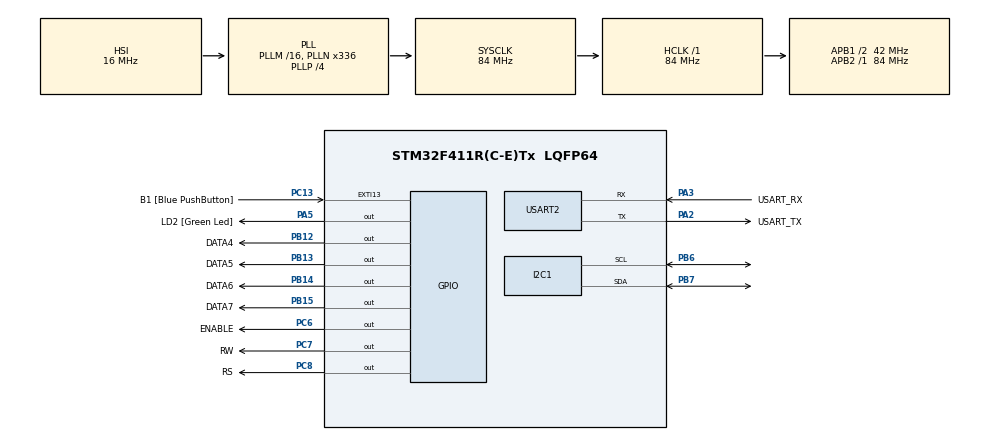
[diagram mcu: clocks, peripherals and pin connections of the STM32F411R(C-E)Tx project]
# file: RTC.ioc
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Mcu.Family=STM32F4
Mcu.Name=STM32F411R(C-E)Tx
Mcu.Package=LQFP64
NVIC.EXTI15_10_IRQn=true\:0\:0\:false\:false\:true\:true\:true\:true
NVIC.I2C1_ER_IRQn=true\:0\:0\:false\:false\:true\:true\:true\:true
NVIC.I2C1_EV_IRQn=true\:0\:0\:false\:false\:true\:true\:true\:true
NVIC.PriorityGroup=NVIC_PRIORITYGROUP_0
NVIC.TIM2_IRQn=true\:0\:0\:false\:false\:true\:true\:true\:true
PA13.GPIO_Label=TMS
PA13.Mode=Serial_Wire
PA13.Signal=SYS_JTMS-SWDIO
PA14.GPIO_Label=TCK
PA14.Mode=Serial_Wire
PA14.Signal=SYS_JTCK-SWCLK
PA2.GPIO_Label=USART_TX
PA2.Mode=Asynchronous
PA2.Signal=USART2_TX
PA3.GPIO_Label=USART_RX
PA3.Mode=Asynchronous
PA3.Signal=USART2_RX
PA5.GPIO_Label=LD2 [Green Led]
PA5.Signal=GPIO_Output
PB12.GPIO_Label=DATA4
PB12.Signal=GPIO_Output
PB13.GPIO_Label=DATA5
PB13.Signal=GPIO_Output
PB14.GPIO_Label=DATA6
PB14.Signal=GPIO_Output
PB15.GPIO_Label=DATA7
PB15.Signal=GPIO_Output
PB3.GPIO_Label=SWO
PB3.Signal=SYS_JTDO-SWO
PB6.GPIO_Pu=GPIO_PULLUP
PB6.Mode=I2C
PB6.Signal=I2C1_SCL
PB7.GPIO_Pu=GPIO_PULLUP
PB7.Mode=I2C
PB7.Signal=I2C1_SDA
PC13-ANTI_TAMP.GPIO_Label=B1 [Blue PushButton]
PC13-ANTI_TAMP.GPIO_ModeDefaultEXTI=GPIO_MODE_IT_FALLING
PC13-ANTI_TAMP.Signal=GPXTI13
PC14-OSC32_IN.Mode=LSE-External-Oscillator
PC14-OSC32_IN.Signal=RCC_OSC32_IN
PC15-OSC32_OUT.Mode=LSE-External-Oscillator
PC15-OSC32_OUT.Signal=RCC_OSC32_OUT
PC6.GPIO_Label=ENABLE
PC6.Signal=GPIO_Output
PC7.GPIO_Label=RW
PC7.Signal=GPIO_Output
PC8.GPIO_Label=RS
PC8.Signal=GPIO_Output
PH0\ -\ OSC_IN.Mode=HSE-External-Clock-Source
PH0\ -\ OSC_IN.Signal=RCC_OSC_IN
PH1\ -\ OSC_OUT.Mode=HSE-External-Clock-Source
PH1\ -\ OSC_OUT.Signal=RCC_OSC_OUT
ProjectManager.HeapSize=0x200
ProjectManager.StackSize=0x400
ProjectManager.TargetToolchain=STM32CubeIDE
RCC.48MHZClocksFreq_Value=84000000
RCC.AHBFreq_Value=84000000
RCC.APB1CLKDivider=RCC_HCLK_DIV2
RCC.APB1Freq_Value=42000000
RCC.APB1TimFreq_Value=84000000
RCC.APB2Freq_Value=84000000
RCC.APB2TimFreq_Value=84000000
RCC.CortexFreq_Value=84000000
RCC.FLatency-AdvancedSettings=FLASH_LATENCY_2
RCC.HCLKFreq_Value=84000000
RCC.HSE_VALUE=8000000
RCC.HSI_VALUE=16000000
RCC.PLLN=336
RCC.PLLP=RCC_PLLP_DIV4
RCC.SYSCLKFreq_VALUE=84000000
RCC.SYSCLKSource=RCC_SYSCLKSOURCE_PLLCLK
RCC.VCOOutputFreq_Value=336000000
TIM2.AutoReloadPreload=TIM_AUTORELOAD_PRELOAD_ENABLE
TIM2.Period=8400
TIM2.Prescaler=10000
USART2.VirtualMode=VM_ASYNC
VP_TIM2_VS_ClockSourceINT.Mode=Internal
board=NUCLEO-F411RE

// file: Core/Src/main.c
/* USER CODE BEGIN Header */
/**
  ******************************************************************************
  * @file           : main.c
  * @brief          : Main program body
  ******************************************************************************
  * @attention
  *
  * Copyright (c) 2023 STMicroelectronics.
  * All rights reserved.
  *
  * This software is licensed under terms that can be found in the LICENSE file
  * in the root directory of this software component.
  * If no LICENSE file comes with this software, it is provided AS-IS.
  *
  ******************************************************************************
  */
/* USER CODE END Header */
#include "main.h"
#include "ds1307.h"
#include "lcd16x2.h"

I2C_HandleTypeDef hi2c1;

TIM_HandleTypeDef htim2;

UART_HandleTypeDef huart2;

void SystemClock_Config(void);
static void MX_GPIO_Init(void);
static void MX_USART2_UART_Init(void);
static void MX_I2C1_Init(void);
static void MX_TIM2_Init(void);

/* USER CODE BEGIN 0 */
DS1307_Time_t setTime =
		{
				.sec = 10,
				.min = 10,
				.hrs = 10,
				.amPM = 0,
		};
/* USER CODE END 0 */

   char buffor[9];
  DS1307_Time_t currentTime;
int main(void)
{
  /* USER CODE BEGIN 1 */

  /* Reset of all peripherals, Initializes the Flash interface and the Systick. */
  HAL_Init();

  /* USER CODE BEGIN Init */

  /* USER CODE END Init */

  /* Configure the system clock */
  SystemClock_Config();

  /* USER CODE BEGIN SysInit */

  /* USER CODE END SysInit */

  /* Initialize all configured peripherals */
  MX_GPIO_Init();
  MX_USART2_UART_Init();
  MX_I2C1_Init();

  /* USER CODE BEGIN 2 */

  /* USER CODE END 1 */

  /* MCU Configuration--------------------------------------------------------*/

  /* Reset of all peripherals, Initializes the Flash interface and the Systick. */

  /* Configure the system clock */
  SystemClock_Config();

  /* Initialize all configured peripherals */
  MX_GPIO_Init();
  MX_USART2_UART_Init();
  MX_I2C1_Init();
  /* USER CODE BEGIN 2 */
  MX_TIM2_Init();
  uint8_t znak = 22;
  ds1307_convert_time_to_string(&setTime, buffor);
  lcd_init();
  HAL_Delay(10);
  lcd_print_string(buffor);
  HAL_TIM_Base_Start_IT(&htim2);

  /* USER CODE END 1 */

  /* MCU Configuration--------------------------------------------------------*/

  /* Reset of all peripherals, Initializes the Flash interface and the Systick. */

  /* USER CODE END Init */

  /* Configure the system clock */

  /* USER CODE BEGIN 2 */

/* USER CODE END 1 */

  /* USER CODE END 2 */

  /* Infinite loop */
  while (1)
  {

  }
}

void  HAL_TIM_PeriodElapsedCallback(TIM_HandleTypeDef *htim)
  {
	  if (htim->Instance==TIM2)
	  {
		  setTime.sec +=1;
      GPIOB->ODR ^=((GPIOB->ODR>>12)<<12);
      lcd_send_cmd(LCD_CMD_DISPLAY_RETURN_HOME);
      GPIOB->ODR ^=((GPIOB->ODR>>12)<<12);
      ds1307_convert_time_to_string(&setTime, buffor);
      lcd_print_string(buffor);
	  }
  }
void SystemClock_Config(void)
{
  RCC_OscInitTypeDef RCC_OscInitStruct = {0};
  RCC_ClkInitTypeDef RCC_ClkInitStruct = {0};

  /** Configure the main internal regulator output voltage
  */
  __HAL_RCC_PWR_CLK_ENABLE();
  __HAL_PWR_VOLTAGESCALING_CONFIG(PWR_REGULATOR_VOLTAGE_SCALE1);

  /** Initializes the RCC Oscillators according to the specified parameters
  * in the RCC_OscInitTypeDef structure.
  */
  RCC_OscInitStruct.OscillatorType = RCC_OSCILLATORTYPE_HSI;
  RCC_OscInitStruct.HSIState = RCC_HSI_ON;
  RCC_OscInitStruct.HSICalibrationValue = RCC_HSICALIBRATION_DEFAULT;
  RCC_OscInitStruct.PLL.PLLState = RCC_PLL_ON;
  RCC_OscInitStruct.PLL.PLLSource = RCC_PLLSOURCE_HSI;
  RCC_OscInitStruct.PLL.PLLM = 16;
  RCC_OscInitStruct.PLL.PLLN = 336;
  RCC_OscInitStruct.PLL.PLLP = RCC_PLLP_DIV4;
  RCC_OscInitStruct.PLL.PLLQ = 4;
  if (HAL_RCC_OscConfig(&RCC_OscInitStruct) != HAL_OK)
  {
    Error_Handler();
  }

  /** Initializes the CPU, AHB and APB buses clocks
  */
  RCC_ClkInitStruct.ClockType = RCC_CLOCKTYPE_HCLK|RCC_CLOCKTYPE_SYSCLK
                              |RCC_CLOCKTYPE_PCLK1|RCC_CLOCKTYPE_PCLK2;
  RCC_ClkInitStruct.SYSCLKSource = RCC_SYSCLKSOURCE_PLLCLK;
  RCC_ClkInitStruct.AHBCLKDivider = RCC_SYSCLK_DIV1;
  RCC_ClkInitStruct.APB1CLKDivider = RCC_HCLK_DIV2;
  RCC_ClkInitStruct.APB2CLKDivider = RCC_HCLK_DIV1;

  if (HAL_RCC_ClockConfig(&RCC_ClkInitStruct, FLASH_LATENCY_2) != HAL_OK)
  {
    Error_Handler();
  }
}

static void MX_I2C1_Init(void)
{

  hi2c1.Instance = I2C1;
  hi2c1.Init.ClockSpeed = 100000;
  hi2c1.Init.DutyCycle = I2C_DUTYCYCLE_2;
  hi2c1.Init.OwnAddress1 = 0;
  hi2c1.Init.AddressingMode = I2C_ADDRESSINGMODE_7BIT;
  hi2c1.Init.DualAddressMode = I2C_DUALADDRESS_DISABLE;
  hi2c1.Init.OwnAddress2 = 0;
  hi2c1.Init.GeneralCallMode = I2C_GENERALCALL_DISABLE;
  hi2c1.Init.NoStretchMode = I2C_NOSTRETCH_DISABLE;
  if (HAL_I2C_Init(&hi2c1) != HAL_OK)
  {
    Error_Handler();
  }

}

static void MX_TIM2_Init(void)
{

  TIM_ClockConfigTypeDef sClockSourceConfig = {0};
  TIM_MasterConfigTypeDef sMasterConfig = {0};

  htim2.Instance = TIM2;
  htim2.Init.Prescaler = 10000;
  htim2.Init.CounterMode = TIM_COUNTERMODE_UP;
  htim2.Init.Period = 8400;
  htim2.Init.ClockDivision = TIM_CLOCKDIVISION_DIV1;
  htim2.Init.AutoReloadPreload = TIM_AUTORELOAD_PRELOAD_ENABLE;
  if (HAL_TIM_Base_Init(&htim2) != HAL_OK)
  {
    Error_Handler();
  }
  sClockSourceConfig.ClockSource = TIM_CLOCKSOURCE_INTERNAL;
  if (HAL_TIM_ConfigClockSource(&htim2, &sClockSourceConfig) != HAL_OK)
  {
    Error_Handler();
  }
  sMasterConfig.MasterOutputTrigger = TIM_TRGO_RESET;
  sMasterConfig.MasterSlaveMode = TIM_MASTERSLAVEMODE_DISABLE;
  if (HAL_TIMEx_MasterConfigSynchronization(&htim2, &sMasterConfig) != HAL_OK)
  {
    Error_Handler();
  }

}

static void MX_USART2_UART_Init(void)
{

  huart2.Instance = USART2;
  huart2.Init.BaudRate = 115200;
  huart2.Init.WordLength = UART_WORDLENGTH_8B;
  huart2.Init.StopBits = UART_STOPBITS_1;
  huart2.Init.Parity = UART_PARITY_NONE;
  huart2.Init.Mode = UART_MODE_TX_RX;
  huart2.Init.HwFlowCtl = UART_HWCONTROL_NONE;
  huart2.Init.OverSampling = UART_OVERSAMPLING_16;
  if (HAL_UART_Init(&huart2) != HAL_OK)
  {
    Error_Handler();
  }

}

static void MX_GPIO_Init(void)
{
  GPIO_InitTypeDef GPIO_InitStruct = {0};

  /* GPIO Ports Clock Enable */
  __HAL_RCC_GPIOC_CLK_ENABLE();
  __HAL_RCC_GPIOH_CLK_ENABLE();
  __HAL_RCC_GPIOA_CLK_ENABLE();
  __HAL_RCC_GPIOB_CLK_ENABLE();

  /*Configure GPIO pin Output Level */
  HAL_GPIO_WritePin(LD2_GPIO_Port, LD2_Pin, GPIO_PIN_RESET);

  /*Configure GPIO pin Output Level */
  HAL_GPIO_WritePin(GPIOB, DATA4_Pin|DATA5_Pin|DATA6_Pin|DATA7_Pin, GPIO_PIN_RESET);

  /*Configure GPIO pin Output Level */
  HAL_GPIO_WritePin(GPIOC, ENABLE_Pin|RW_Pin|RS_Pin, GPIO_PIN_RESET);

  /*Configure GPIO pin : B1_Pin */
  GPIO_InitStruct.Pin = B1_Pin;
  GPIO_InitStruct.Mode = GPIO_MODE_IT_FALLING;
  GPIO_InitStruct.Pull = GPIO_NOPULL;
  HAL_GPIO_Init(B1_GPIO_Port, &GPIO_InitStruct);

  /*Configure GPIO pin : LD2_Pin */
  GPIO_InitStruct.Pin = LD2_Pin;
  GPIO_InitStruct.Mode = GPIO_MODE_OUTPUT_PP;
  GPIO_InitStruct.Pull = GPIO_NOPULL;
  GPIO_InitStruct.Speed = GPIO_SPEED_FREQ_LOW;
  HAL_GPIO_Init(LD2_GPIO_Port, &GPIO_InitStruct);

  /*Configure GPIO pins : DATA4_Pin DATA5_Pin DATA6_Pin DATA7_Pin */
  GPIO_InitStruct.Pin = DATA4_Pin|DATA5_Pin|DATA6_Pin|DATA7_Pin;
  GPIO_InitStruct.Mode = GPIO_MODE_OUTPUT_PP;
  GPIO_InitStruct.Pull = GPIO_NOPULL;
  GPIO_InitStruct.Speed = GPIO_SPEED_FREQ_LOW;
  HAL_GPIO_Init(GPIOB, &GPIO_InitStruct);

  /*Configure GPIO pins : ENABLE_Pin RW_Pin RS_Pin */
  GPIO_InitStruct.Pin = ENABLE_Pin|RW_Pin|RS_Pin;
  GPIO_InitStruct.Mode = GPIO_MODE_OUTPUT_PP;
  GPIO_InitStruct.Pull = GPIO_NOPULL;
  GPIO_InitStruct.Speed = GPIO_SPEED_FREQ_LOW;
  HAL_GPIO_Init(GPIOC, &GPIO_InitStruct);

  /* EXTI interrupt init*/
  HAL_NVIC_SetPriority(EXTI15_10_IRQn, 0, 0);
  HAL_NVIC_EnableIRQ(EXTI15_10_IRQn);

}

void Error_Handler(void)
{
  __disable_irq();
  while (1)
  {
  }
}
